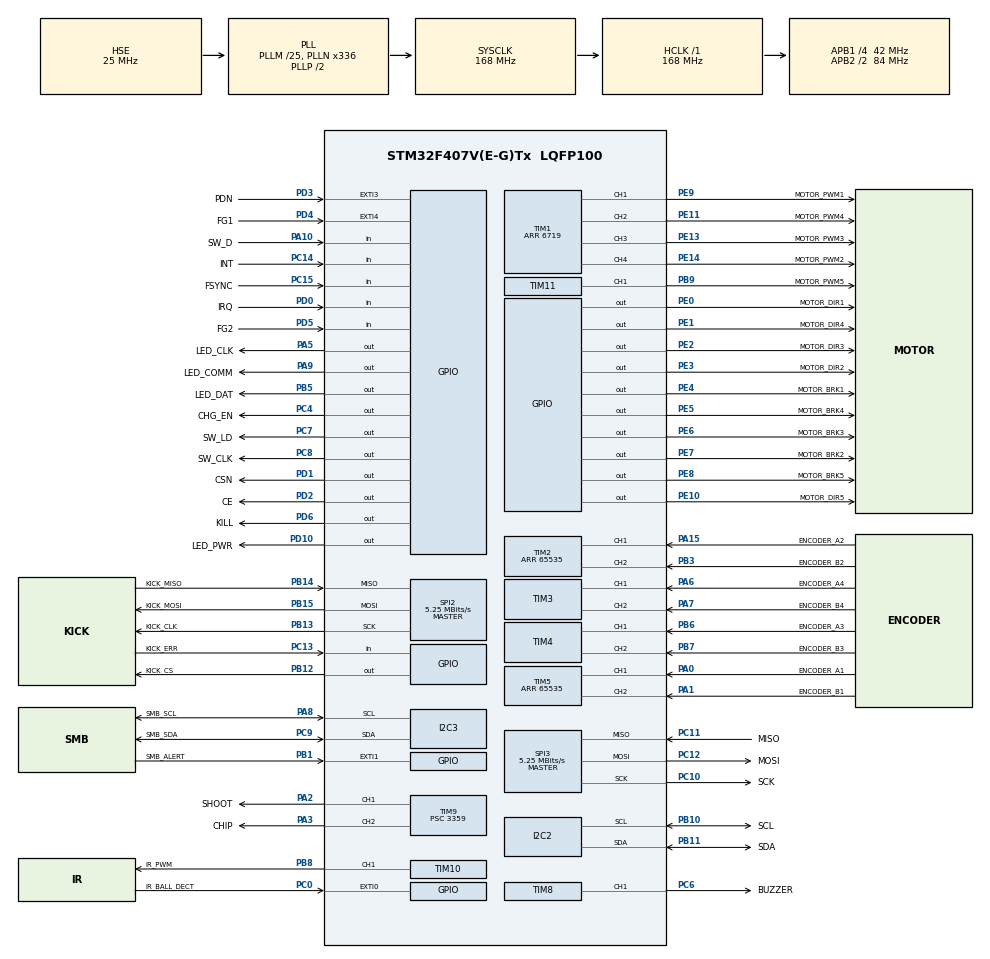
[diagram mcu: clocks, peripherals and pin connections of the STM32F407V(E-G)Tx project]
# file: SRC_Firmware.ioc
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FREERTOS.INCLUDE_vTaskDelayUntil=1
FREERTOS.Tasks01=MotorUpdate,2,128,Update_Motor,Default,NULL,Dynamic,NULL,NULL;Communication,1,512,Do_Comm,Default,NULL,Dynamic,NULL,NULL;StatesUpdate,0,1024,RobotTask,Default,NULL,Dynamic,NULL,NULL;DisplayState,-2,512,Do_Display,Default,NULL,Dynamic,NULL,NULL;Idle,-3,128,Do_Default,Default,NULL,Dynamic,NULL,NULL
I2C2.DualAddressMode=I2C_DUALADDRESS_DISABLE
I2C2.I2C_Mode=I2C_Fast
Mcu.Family=STM32F4
Mcu.Name=STM32F407V(E-G)Tx
Mcu.Package=LQFP100
NVIC.EXTI0_IRQn=true\:5\:0\:false\:false\:true\:true\:true\:true\:true
NVIC.EXTI1_IRQn=true\:5\:0\:false\:false\:true\:true\:true\:true\:true
NVIC.EXTI3_IRQn=true\:5\:0\:false\:false\:true\:true\:true\:true\:true
NVIC.EXTI4_IRQn=true\:5\:0\:false\:false\:true\:true\:true\:true\:true
NVIC.PriorityGroup=NVIC_PRIORITYGROUP_4
NVIC.TIM8_BRK_TIM12_IRQn=true\:5\:0\:false\:true\:true\:1\:true\:true\:true\:true
NVIC.TIM8_TRG_COM_TIM14_IRQn=true\:15\:0\:false\:false\:true\:false\:false\:true\:true
NVIC.TimeBase=TIM8_TRG_COM_TIM14_IRQn
NVIC.TimeBaseIP=TIM14
PA0-WKUP.GPIO_Label=ENCODER_A1
PA0-WKUP.Signal=S_TIM5_CH1
PA1.GPIO_Label=ENCODER_B1
PA1.Signal=S_TIM5_CH2
PA10.GPIO_Label=SW_D
PA10.Signal=GPIO_Input
PA13.Mode=Serial_Wire
PA13.Signal=SYS_JTMS-SWDIO
PA14.Mode=Serial_Wire
PA14.Signal=SYS_JTCK-SWCLK
PA15.GPIO_Label=ENCODER_A2
PA15.Signal=S_TIM2_CH1_ETR
PA2.GPIO_Label=SHOOT
PA2.GPIO_PuPd=GPIO_PULLUP
PA2.GPIO_Speed=GPIO_SPEED_FREQ_HIGH
PA2.Signal=S_TIM9_CH1
PA3.GPIO_Label=CHIP
PA3.GPIO_PuPd=GPIO_PULLUP
PA3.GPIO_Speed=GPIO_SPEED_FREQ_HIGH
PA3.Signal=S_TIM9_CH2
PA5.GPIO_Label=LED_CLK
PA5.GPIO_Speed=GPIO_SPEED_FREQ_HIGH
PA5.Signal=GPIO_Output
PA6.GPIO_Label=ENCODER_A4
PA6.Signal=S_TIM3_CH1
PA7.GPIO_Label=ENCODER_B4
PA7.Signal=S_TIM3_CH2
PA8.GPIO_Label=SMB_SCL
PA8.Mode=I2C
PA8.Signal=I2C3_SCL
PA9.GPIO_Label=LED_COMM
PA9.GPIO_Speed=GPIO_SPEED_FREQ_HIGH
PA9.Signal=GPIO_Output
PB1.GPIO_Label=SMB_ALERT
PB1.GPIO_ModeDefaultEXTI=GPIO_MODE_IT_FALLING
PB1.GPIO_PuPd=GPIO_PULLUP
PB1.Signal=GPXTI1
PB10.GPIO_Label=SCL
PB10.GPIO_Pu=GPIO_NOPULL
PB10.Mode=I2C
PB10.Signal=I2C2_SCL
PB11.GPIO_Label=SDA
PB11.GPIO_Pu=GPIO_NOPULL
PB11.Mode=I2C
PB11.Signal=I2C2_SDA
PB12.GPIO_Label=KICK_CS
PB12.GPIO_PuPd=GPIO_PULLUP
PB12.GPIO_Speed=GPIO_SPEED_FREQ_VERY_HIGH
PB12.PinState=GPIO_PIN_SET
PB12.Signal=GPIO_Output
PB13.GPIO_Label=KICK_CLK
PB13.Mode=Full_Duplex_Master
PB13.Signal=SPI2_SCK
PB14.GPIO_Label=KICK_MISO
PB14.Mode=Full_Duplex_Master
PB14.Signal=SPI2_MISO
PB15.GPIO_Label=KICK_MOSI
PB15.Mode=Full_Duplex_Master
PB15.Signal=SPI2_MOSI
PB3.GPIO_Label=ENCODER_B2
PB3.Signal=S_TIM2_CH2
PB5.GPIO_Label=LED_DAT
PB5.GPIO_Speed=GPIO_SPEED_FREQ_HIGH
PB5.Signal=GPIO_Output
PB6.GPIO_Label=ENCODER_A3
PB6.Signal=S_TIM4_CH1
PB7.GPIO_Label=ENCODER_B3
PB7.Signal=S_TIM4_CH2
PB8.GPIO_Label=IR_PWM
PB8.Signal=S_TIM10_CH1
PB9.GPIO_Label=MOTOR_PWM5
PB9.Signal=S_TIM11_CH1
PC0.GPIO_Label=IR_BALL_DECT
PC0.GPIO_ModeDefaultEXTI=GPIO_MODE_IT_RISING_FALLING
PC0.Signal=GPXTI0
PC10.GPIO_Label=SCK
PC10.Mode=Full_Duplex_Master
PC10.Signal=SPI3_SCK
PC11.GPIO_Label=MISO
PC11.Mode=Full_Duplex_Master
PC11.Signal=SPI3_MISO
PC12.GPIO_Label=MOSI
PC12.Mode=Full_Duplex_Master
PC12.Signal=SPI3_MOSI
PC13-ANTI_TAMP.GPIO_Label=KICK_ERR
PC13-ANTI_TAMP.GPIO_PuPd=GPIO_PULLUP
PC13-ANTI_TAMP.Signal=GPIO_Input
PC14-OSC32_IN.GPIO_Label=INT
PC14-OSC32_IN.Signal=GPIO_Input
PC15-OSC32_OUT.GPIO_Label=FSYNC
PC15-OSC32_OUT.Signal=GPIO_Input
PC4.GPIO_Label=CHG_EN
PC4.GPIO_ModeDefaultOutputPP=GPIO_MODE_OUTPUT_PP
PC4.GPIO_PuPd=GPIO_NOPULL
PC4.GPIO_Speed=GPIO_SPEED_FREQ_HIGH
PC4.PinState=GPIO_PIN_RESET
PC4.Signal=GPIO_Output
PC6.GPIO_Label=BUZZER
PC6.Signal=S_TIM8_CH1
PC7.GPIO_Label=SW_LD
PC7.GPIO_Speed=GPIO_SPEED_FREQ_VERY_HIGH
PC7.Signal=GPIO_Output
PC8.GPIO_Label=SW_CLK
PC8.GPIO_Speed=GPIO_SPEED_FREQ_VERY_HIGH
PC8.Signal=GPIO_Output
PC9.GPIO_Label=SMB_SDA
PC9.Mode=I2C
PC9.Signal=I2C3_SDA
PD0.GPIO_Label=IRQ
PD0.GPIO_PuPd=GPIO_NOPULL
PD0.Signal=GPIO_Input
PD1.GPIO_Label=CSN
PD1.GPIO_Speed=GPIO_SPEED_FREQ_HIGH
PD1.PinState=GPIO_PIN_SET
PD1.Signal=GPIO_Output
PD10.GPIO_Label=LED_PWR
PD10.GPIO_Speed=GPIO_SPEED_FREQ_HIGH
PD10.Signal=GPIO_Output
PD2.GPIO_Label=CE
PD2.GPIO_Speed=GPIO_SPEED_FREQ_HIGH
PD2.Signal=GPIO_Output
PD3.GPIO_Label=PDN
PD3.GPIO_ModeDefaultEXTI=GPIO_MODE_IT_FALLING
PD3.GPIO_PuPd=GPIO_PULLUP
PD3.Signal=GPXTI3
PD4.GPIO_Label=FG1
PD4.Signal=GPXTI4
PD5.GPIO_Label=FG2
PD5.Signal=GPIO_Input
PD6.GPIO_Label=KILL
PD6.GPIO_ModeDefaultOutputPP=GPIO_MODE_OUTPUT_OD
PD6.GPIO_PuPd=GPIO_PULLUP
PD6.GPIO_Speed=GPIO_SPEED_FREQ_HIGH
PD6.PinState=GPIO_PIN_SET
PD6.Signal=GPIO_Output
PE0.GPIO_Label=MOTOR_DIR1
PE0.GPIO_Speed=GPIO_SPEED_FREQ_HIGH
PE0.Signal=GPIO_Output
PE1.GPIO_Label=MOTOR_DIR4
PE1.GPIO_Speed=GPIO_SPEED_FREQ_HIGH
PE1.Signal=GPIO_Output
PE10.GPIO_Label=MOTOR_DIR5
PE10.GPIO_Speed=GPIO_SPEED_FREQ_HIGH
PE10.Signal=GPIO_Output
PE11.GPIO_Label=MOTOR_PWM4
PE11.Signal=S_TIM1_CH2
PE13.GPIO_Label=MOTOR_PWM3
PE13.Signal=S_TIM1_CH3
PE14.GPIO_Label=MOTOR_PWM2
PE14.Signal=S_TIM1_CH4
PE2.GPIO_Label=MOTOR_DIR3
PE2.GPIO_Speed=GPIO_SPEED_FREQ_HIGH
PE2.Signal=GPIO_Output
PE3.GPIO_Label=MOTOR_DIR2
PE3.GPIO_Speed=GPIO_SPEED_FREQ_HIGH
PE3.Signal=GPIO_Output
PE4.GPIO_Label=MOTOR_BRK1
PE4.GPIO_Speed=GPIO_SPEED_FREQ_HIGH
PE4.PinState=GPIO_PIN_SET
PE4.Signal=GPIO_Output
PE5.GPIO_Label=MOTOR_BRK4
PE5.GPIO_Speed=GPIO_SPEED_FREQ_HIGH
PE5.PinState=GPIO_PIN_SET
PE5.Signal=GPIO_Output
PE6.GPIO_Label=MOTOR_BRK3
PE6.GPIO_Speed=GPIO_SPEED_FREQ_HIGH
PE6.PinState=GPIO_PIN_SET
PE6.Signal=GPIO_Output
PE7.GPIO_Label=MOTOR_BRK2
PE7.GPIO_Speed=GPIO_SPEED_FREQ_HIGH
PE7.PinState=GPIO_PIN_SET
PE7.Signal=GPIO_Output
PE8.GPIO_Label=MOTOR_BRK5
PE8.GPIO_Speed=GPIO_SPEED_FREQ_HIGH
PE8.Signal=GPIO_Output
PE9.GPIO_Label=MOTOR_PWM1
PE9.Signal=S_TIM1_CH1
PH0-OSC_IN.Mode=HSE-External-Oscillator
PH0-OSC_IN.Signal=RCC_OSC_IN
PH1-OSC_OUT.Mode=HSE-External-Oscillator
PH1-OSC_OUT.Signal=RCC_OSC_OUT
ProjectManager.HeapSize=0x200
ProjectManager.StackSize=0x400
ProjectManager.TargetToolchain=MDK-ARM V5.32
RCC.48MHZClocksFreq_Value=84000000
RCC.AHBFreq_Value=168000000
RCC.APB1CLKDivider=RCC_HCLK_DIV4
RCC.APB1Freq_Value=42000000
RCC.APB1TimFreq_Value=84000000
RCC.APB2CLKDivider=RCC_HCLK_DIV2
RCC.APB2Freq_Value=84000000
RCC.APB2TimFreq_Value=168000000
RCC.CortexFreq_Value=168000000
RCC.HCLKFreq_Value=168000000
RCC.HSE_VALUE=25000000
RCC.HSI_VALUE=16000000
RCC.LSE_VALUE=32768
RCC.PLLM=25
RCC.PLLN=336
RCC.PLLSourceVirtual=RCC_PLLSOURCE_HSE
RCC.SYSCLKFreq_VALUE=168000000
RCC.SYSCLKSource=RCC_SYSCLKSOURCE_PLLCLK
RCC.VCOOutputFreq_Value=336000000
SH.S_TIM10_CH1.0=TIM10_CH1,PWM Generation1 CH1
SH.S_TIM11_CH1.0=TIM11_CH1,PWM Generation1 CH1
SH.S_TIM1_CH1.0=TIM1_CH1,PWM Generation1 CH1
SH.S_TIM1_CH2.0=TIM1_CH2,PWM Generation2 CH2
SH.S_TIM1_CH3.0=TIM1_CH3,PWM Generation3 CH3
SH.S_TIM1_CH4.0=TIM1_CH4,PWM Generation4 CH4
SH.S_TIM2_CH1_ETR.0=TIM2_CH1,Encoder_Interface
SH.S_TIM2_CH2.0=TIM2_CH2,Encoder_Interface
SH.S_TIM3_CH1.0=TIM3_CH1,Encoder_Interface
SH.S_TIM3_CH2.0=TIM3_CH2,Encoder_Interface
SH.S_TIM4_CH1.0=TIM4_CH1,Encoder_Interface
SH.S_TIM4_CH2.0=TIM4_CH2,Encoder_Interface
SH.S_TIM5_CH1.0=TIM5_CH1,Encoder_Interface
SH.S_TIM5_CH2.0=TIM5_CH2,Encoder_Interface
SH.S_TIM8_CH1.0=TIM8_CH1,PWM Generation1 CH1
SH.S_TIM9_CH1.0=TIM9_CH1,PWM Generation1 CH1
SH.S_TIM9_CH2.0=TIM9_CH2,PWM Generation2 CH2
SPI2.BaudRatePrescaler=SPI_BAUDRATEPRESCALER_8
SPI2.CLKPhase=SPI_PHASE_2EDGE
SPI2.CLKPolarity=SPI_POLARITY_HIGH
SPI2.CalculateBaudRate=5.25 MBits/s
SPI2.Direction=SPI_DIRECTION_2LINES
SPI2.Mode=SPI_MODE_MASTER
SPI2.VirtualType=VM_MASTER
SPI3.BaudRatePrescaler=SPI_BAUDRATEPRESCALER_8
SPI3.CRCCalculation=SPI_CRCCALCULATION_DISABLE
SPI3.CalculateBaudRate=5.25 MBits/s
SPI3.Direction=SPI_DIRECTION_2LINES
SPI3.Mode=SPI_MODE_MASTER
SPI3.VirtualType=VM_MASTER
TIM1.AutoReloadPreload=TIM_AUTORELOAD_PRELOAD_ENABLE
TIM1.Channel-PWM\ Generation1\ CH1=TIM_CHANNEL_1
TIM1.Channel-PWM\ Generation2\ CH2=TIM_CHANNEL_2
TIM1.Channel-PWM\ Generation3\ CH3=TIM_CHANNEL_3
TIM1.Channel-PWM\ Generation4\ CH4=TIM_CHANNEL_4
TIM1.OCPolarity_1=TIM_OCPOLARITY_LOW
TIM1.OCPolarity_2=TIM_OCPOLARITY_LOW
TIM1.OCPolarity_3=TIM_OCPOLARITY_LOW
TIM1.OCPolarity_4=TIM_OCPOLARITY_LOW
TIM1.Period=6719
TIM10.AutoReloadPreload=TIM_AUTORELOAD_PRELOAD_DISABLE
TIM10.Channel=TIM_CHANNEL_1
TIM10.Period=4420
TIM10.Pulse=4420 * 20 / 100
TIM11.AutoReloadPreload=TIM_AUTORELOAD_PRELOAD_ENABLE
TIM11.Channel=TIM_CHANNEL_1
TIM11.OC1Preload_PWM=ENABLE
TIM11.OCFastMode_PWM=TIM_OCFAST_DISABLE
TIM11.OCPolarity_1=TIM_OCPOLARITY_LOW
TIM11.Period=6719
TIM12.AutoReloadPreload=TIM_AUTORELOAD_PRELOAD_ENABLE
TIM12.Period=1000
TIM12.Prescaler=83
TIM2.AutoReloadPreload=TIM_AUTORELOAD_PRELOAD_ENABLE
TIM2.EncoderMode=TIM_ENCODERMODE_TI12
TIM2.IC1Polarity=TIM_ICPOLARITY_FALLING
TIM2.IC2Polarity=TIM_ICPOLARITY_RISING
TIM2.Period=65535
TIM3.AutoReloadPreload=TIM_AUTORELOAD_PRELOAD_ENABLE
TIM3.EncoderMode=TIM_ENCODERMODE_TI12
TIM3.IC1Polarity=TIM_ICPOLARITY_FALLING
TIM3.IC2Polarity=TIM_ICPOLARITY_RISING
TIM4.AutoReloadPreload=TIM_AUTORELOAD_PRELOAD_ENABLE
TIM4.EncoderMode=TIM_ENCODERMODE_TI12
TIM4.IC1Polarity=TIM_ICPOLARITY_FALLING
TIM4.IC2Polarity=TIM_ICPOLARITY_RISING
TIM5.AutoReloadPreload=TIM_AUTORELOAD_PRELOAD_ENABLE
TIM5.EncoderMode=TIM_ENCODERMODE_TI12
TIM5.IC1Polarity=TIM_ICPOLARITY_FALLING
TIM5.IC2Polarity=TIM_ICPOLARITY_RISING
TIM5.Period=65535
TIM7.Period=65535
TIM7.Prescaler=20
TIM7.TIM_MasterOutputTrigger=TIM_TRGO_RESET
TIM8.Channel-PWM\ Generation1\ CH1=TIM_CHANNEL_1
TIM8.Period=499
TIM8.Prescaler=167
TIM9.Channel-PWM\ Generation1\ CH1=TIM_CHANNEL_1
TIM9.Channel-PWM\ Generation2\ CH2=TIM_CHANNEL_2
TIM9.OC1Preload_PWM=DISABLE
TIM9.OC2Preload_PWM=DISABLE
TIM9.OCMode_PWM-PWM\ Generation1\ CH1=TIM_OCMODE_PWM2
TIM9.OCMode_PWM-PWM\ Generation2\ CH2=TIM_OCMODE_PWM2
TIM9.OCPolarity_1=TIM_OCPOLARITY_LOW
TIM9.OCPolarity_2=TIM_OCPOLARITY_LOW
TIM9.Period=127*5
TIM9.Prescaler=3359
TIM9.Pulse-PWM\ Generation1\ CH1=1
TIM9.Pulse-PWM\ Generation2\ CH2=1
VP_FREERTOS_VS_CMSIS_V1.Mode=CMSIS_V1
VP_SYS_VS_tim14.Mode=TIM14
VP_TIM10_VS_ClockSourceINT.Mode=Enable_Timer
VP_TIM11_VS_ClockSourceINT.Mode=Enable_Timer
VP_TIM12_VS_ClockSourceINT.Mode=Internal
VP_TIM6_VS_ClockSourceINT.Mode=Enable_Timer
VP_TIM6_VS_OPM.Mode=OPM_bit
VP_TIM7_VS_ClockSourceINT.Mode=Enable_Timer
VP_TIM7_VS_OPM.Mode=OPM_bit
VP_TIM8_VS_ClockSourceINT.Mode=Internal
VP_TIM9_VS_ClockSourceINT.Mode=Internal
VP_TIM9_VS_OPM.Mode=OPM_bit
board=custom

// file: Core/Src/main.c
/* USER CODE BEGIN Header */
/* coding: utf-8 */
/**
  ******************************************************************************
  * @file           : main.c
  * @brief          : Main program body
  ******************************************************************************
  * @attention
  *
  * Copyright (c) 2025 STMicroelectronics.
  * All rights reserved.
  *
  * This software is licensed under terms that can be found in the LICENSE file
  * in the root directory of this software component.
  * If no LICENSE file comes with this software, it is provided AS-IS.
  *
  ******************************************************************************
  */
/* USER CODE END Header */
#include "main.h"
#include "cmsis_os.h"
#include "i2c.h"
#include "spi.h"
#include "tim.h"
#include "gpio.h"

/* USER CODE BEGIN Includes */
#include "board_monitor.h"
#include "dribbler_control.h"
#include "robot.h"
#include "misc.h"
/* USER CODE END Includes */

void SystemClock_Config(void);
void MX_FREERTOS_Init(void);
static void MX_NVIC_Init(void);

/* USER CODE BEGIN 0 */
robot_t g_robot;
extern SemaphoreHandle_t xMotorTickSem;
/* USER CODE END 0 */

int main(void)
{

  /* MCU Configuration--------------------------------------------------------*/

  /* Reset of all peripherals, Initializes the Flash interface and the Systick. */
  HAL_Init();

  /* USER CODE BEGIN Init */
  /* v13b DIS is low-active: drive HIGH before clock/peripheral setup. */
  kicker_hold_outputs();

  /* USER CODE END Init */

  /* Configure the system clock */
  SystemClock_Config();

  /* USER CODE BEGIN SysInit */
  DIS_INT();
  /* CHG low before peripherals; board bias identification runs in its task. */
  board_charge_gpio_init();

  /* USER CODE END SysInit */

  /* Initialize all configured peripherals */
  MX_GPIO_Init();
  MX_SPI3_Init();
  MX_TIM1_Init();
  MX_TIM2_Init();
  MX_TIM3_Init();
  MX_TIM4_Init();
  MX_TIM5_Init();
  MX_TIM7_Init();
  MX_TIM9_Init();
  MX_TIM10_Init();
  MX_TIM11_Init();
  MX_TIM6_Init();
  MX_TIM12_Init();
  MX_I2C2_Init();
  MX_I2C3_Init();
  MX_SPI2_Init();
  MX_TIM8_Init();

  /* Initialize interrupts */
  MX_NVIC_Init();
  /* USER CODE BEGIN 2 */
  /* v13b DIS is low-active: establish high before peripheral init. */
  kicker_hold_outputs();
  SRC_Robot_Init();
  /* USER CODE END 2 */

  /* Call init function for freertos objects (in cmsis_os2.c) */
  MX_FREERTOS_Init();

  /* Start scheduler */
  osKernelStart();

  /* We should never get here as control is now taken by the scheduler */

  /* Infinite loop */
  while (1)
  {

  }
}

void SystemClock_Config(void)
{
  RCC_OscInitTypeDef RCC_OscInitStruct = {0};
  RCC_ClkInitTypeDef RCC_ClkInitStruct = {0};

  /** Configure the main internal regulator output voltage
  */
  __HAL_RCC_PWR_CLK_ENABLE();
  __HAL_PWR_VOLTAGESCALING_CONFIG(PWR_REGULATOR_VOLTAGE_SCALE1);

  /** Initializes the RCC Oscillators according to the specified parameters
  * in the RCC_OscInitTypeDef structure.
  */
  RCC_OscInitStruct.OscillatorType = RCC_OSCILLATORTYPE_HSE;
  RCC_OscInitStruct.HSEState = RCC_HSE_ON;
  RCC_OscInitStruct.PLL.PLLState = RCC_PLL_ON;
  RCC_OscInitStruct.PLL.PLLSource = RCC_PLLSOURCE_HSE;
  RCC_OscInitStruct.PLL.PLLM = 25;
  RCC_OscInitStruct.PLL.PLLN = 336;
  RCC_OscInitStruct.PLL.PLLP = RCC_PLLP_DIV2;
  RCC_OscInitStruct.PLL.PLLQ = 4;
  if (HAL_RCC_OscConfig(&RCC_OscInitStruct) != HAL_OK)
  {
    Error_Handler();
  }

  /** Initializes the CPU, AHB and APB buses clocks
  */
  RCC_ClkInitStruct.ClockType = RCC_CLOCKTYPE_HCLK|RCC_CLOCKTYPE_SYSCLK
                              |RCC_CLOCKTYPE_PCLK1|RCC_CLOCKTYPE_PCLK2;
  RCC_ClkInitStruct.SYSCLKSource = RCC_SYSCLKSOURCE_PLLCLK;
  RCC_ClkInitStruct.AHBCLKDivider = RCC_SYSCLK_DIV1;
  RCC_ClkInitStruct.APB1CLKDivider = RCC_HCLK_DIV4;
  RCC_ClkInitStruct.APB2CLKDivider = RCC_HCLK_DIV2;

  if (HAL_RCC_ClockConfig(&RCC_ClkInitStruct, FLASH_LATENCY_5) != HAL_OK)
  {
    Error_Handler();
  }
}

/**
  * @brief NVIC Configuration.
  * @retval None
  */
static void MX_NVIC_Init(void)
{
  /* TIM8_BRK_TIM12_IRQn interrupt configuration */
  HAL_NVIC_SetPriority(TIM8_BRK_TIM12_IRQn, 5, 0);
  HAL_NVIC_EnableIRQ(TIM8_BRK_TIM12_IRQn);
}

/* USER CODE BEGIN 4 */
/*******************************************************************************
* @brief Route new board interrupts; bus transfers and control stay in tasks.
* @author COEX, Xuanting Liu
*******************************************************************************/
void HAL_GPIO_EXTI_Callback(uint16_t GPIO_Pin)
{
	if(GPIO_Pin == FG1_Pin) dribbler_fg_edge();
	else board_monitor_exti(GPIO_Pin);
}

/* USER CODE END 4 */

void HAL_TIM_PeriodElapsedCallback(TIM_HandleTypeDef *htim)
{
  /* USER CODE BEGIN Callback 0 */
	static uint32_t time_cnt = 0;

  /* USER CODE END Callback 0 */
  if (htim->Instance == TIM14) {
    HAL_IncTick();
  }
  /* USER CODE BEGIN Callback 1 */

  if(htim->Instance == TIM12)
    {
      int now_infra;
      //更新持球状濿
      #if INFRA_TYPE == OLD_INFRA
            if (HAL_GPIO_ReadPin(IR_BALL_DECT_GPIO_Port, IR_BALL_DECT_Pin) == GPIO_PIN_SET)
                now_infra = 1;
            else
                now_infra = 0;
      #elif INFRA_TYPE == NEW_INFRA
            if (HAL_GPIO_ReadPin(IR_BALL_DECT_GPIO_Port, IR_BALL_DECT_Pin) == GPIO_PIN_SET)
                now_infra = 0;
            else
                now_infra = 1;
      #endif

      g_robot.is_ball_detected = Infra_Filter_Update(now_infra);

      if(++time_cnt >= 2)
      {
        BaseType_t xHigherPriorityTaskWoken = pdFALSE;
        if(xMotorTickSem != NULL) xSemaphoreGiveFromISR(xMotorTickSem, &xHigherPriorityTaskWoken);
        portYIELD_FROM_ISR(xHigherPriorityTaskWoken);
        time_cnt = 0;
      }

			inc_receive_mode_flag();
			update_sys_timer();
    }

  /* USER CODE END Callback 1 */
}

void Error_Handler(void)
{
  __disable_irq();
  while (1)
  {
  }
}

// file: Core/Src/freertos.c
/* USER CODE BEGIN Header */
/* coding: utf-8 */
/**
  ******************************************************************************
  * File Name          : freertos.c
  * Description        : Code for freertos applications
  ******************************************************************************
  * @attention
  *
  * Copyright (c) 2025 STMicroelectronics.
  * All rights reserved.
  *
  * This software is licensed under terms that can be found in the LICENSE file
  * in the root directory of this software component.
  * If no LICENSE file comes with this software, it is provided AS-IS.
  *
  ******************************************************************************
  */
/* USER CODE END Header */

#include "FreeRTOS.h"
#include "task.h"
#include "main.h"
#include "cmsis_os.h"

/* USER CODE BEGIN Includes */
#include <string.h>
#include "gpio.h"
#include "robot.h"
#include "tim.h"
#include "motor.h"
#include "comm.h"
#include "action.h"
#include "oled.h"
#include "misc.h"
#include "MPU6050_driver.h"
#include "i2c.h"
#include "board_monitor.h"
#include "dribbler_control.h"
#include "music.h"
/* USER CODE END Includes */

/* USER CODE BEGIN Variables */
SemaphoreHandle_t xMotorTickSem = NULL;

/* Release communication and display only after startup owns the bus and buzzer. */
static volatile uint8_t startup_complete = 0U;

timer_t power_mon_timer;
timer_t heart_led_timer;
timer_t rf_comm_tim;           //发射机�?�信超时时间
timer_t identify_cpuid_tim;   //cpuid认证超时时间 设置�?10S
timer_t shoot_interval_timer;

extern char g_do_set_receive_mode_flag;
extern char g_set_receive_mode_flag;
extern packet_robot_t src_robot_packet;

/* USER CODE END Variables */
osThreadId MotorUpdateHandle;
osThreadId CommunicationHandle;
osThreadId StatesUpdateHandle;
osThreadId DisplayStateHandle;
osThreadId IdleHandle;

/* USER CODE BEGIN FunctionPrototypes */
static void Update_Imu(void const *argument);
static void Update_Board(void const *argument);
static void Play_Mode3Music(void);

/* USER CODE END FunctionPrototypes */

void Update_Motor(void const * argument);
void Do_Comm(void const * argument);
void RobotTask(void const * argument);
void Do_Display(void const * argument);
void Do_Default(void const * argument);

void MX_FREERTOS_Init(void); /* (MISRA C 2004 rule 8.1) */

/* GetIdleTaskMemory prototype (linked to static allocation support) */
void vApplicationGetIdleTaskMemory( StaticTask_t **ppxIdleTaskTCBBuffer, StackType_t **ppxIdleTaskStackBuffer, uint32_t *pulIdleTaskStackSize );

/* USER CODE BEGIN GET_IDLE_TASK_MEMORY */
static StaticTask_t xIdleTaskTCBBuffer;
static StackType_t xIdleStack[configMINIMAL_STACK_SIZE];

void vApplicationGetIdleTaskMemory( StaticTask_t **ppxIdleTaskTCBBuffer, StackType_t **ppxIdleTaskStackBuffer, uint32_t *pulIdleTaskStackSize )
{
  *ppxIdleTaskTCBBuffer = &xIdleTaskTCBBuffer;
  *ppxIdleTaskStackBuffer = &xIdleStack[0];
  *pulIdleTaskStackSize = configMINIMAL_STACK_SIZE;
  /* place for user code */
}
/* USER CODE END GET_IDLE_TASK_MEMORY */

void MX_FREERTOS_Init(void) {

  /* USER CODE BEGIN RTOS_MUTEX */
  I2C2_CreateMutex();
  /* add mutexes, ... */
  /* USER CODE END RTOS_MUTEX */

  /* Create the thread(s) */
  /* definition and creation of MotorUpdate */
  osThreadDef(MotorUpdate, Update_Motor, osPriorityHigh, 0, 128);
  MotorUpdateHandle = osThreadCreate(osThread(MotorUpdate), NULL);

  /* definition and creation of Communication */
  osThreadDef(Communication, Do_Comm, osPriorityAboveNormal, 0, 512);
  CommunicationHandle = osThreadCreate(osThread(Communication), NULL);

  /* definition and creation of StatesUpdate */
  osThreadDef(StatesUpdate, RobotTask, osPriorityNormal, 0, 1024);
  StatesUpdateHandle = osThreadCreate(osThread(StatesUpdate), NULL);

  /* definition and creation of DisplayState */
  osThreadDef(DisplayState, Do_Display, osPriorityLow, 0, 512);
  DisplayStateHandle = osThreadCreate(osThread(DisplayState), NULL);

  /* definition and creation of Idle */
  osThreadDef(Idle, Do_Default, osPriorityIdle, 0, 128);
  IdleHandle = osThreadCreate(osThread(Idle), NULL);

  /* USER CODE BEGIN RTOS_THREADS */
  osThreadDef(ImuUpdate, Update_Imu, osPriorityAboveNormal, 0, 512);
  if (osThreadCreate(osThread(ImuUpdate), NULL) == NULL) Error_Handler();
  osThreadDef(BoardUpdate, Update_Board, osPriorityAboveNormal, 0, 384);
  if (osThreadCreate(osThread(BoardUpdate), NULL) == NULL) Error_Handler();
  /* add threads, ... */
  /* USER CODE END RTOS_THREADS */

}

void Update_Motor(void const * argument)
{
  /* USER CODE BEGIN Update_Motor */
  xMotorTickSem = xSemaphoreCreateBinary();
  if (xMotorTickSem == NULL) Error_Handler();
  /* Infinite loop */
  for(;;)
  {
    if(xSemaphoreTake(xMotorTickSem, pdMS_TO_TICKS(2000)) == pdTRUE)
    {
        do_update_motor();
        //Debug_Here();  // 调试断点
    }
  }
  /* USER CODE END Update_Motor */
}

void Do_Comm(void const * argument)
{
  /* USER CODE BEGIN Do_Comm */
  while (startup_complete == 0U)
  {
    osDelay(10U);
  }
  /* Infinite loop */
  for(;;)
  {
    if(g_robot.mode == NORMAL_MODE || g_robot.mode == CRAY_MODE)
    {
        do_communication();
        do_game_telemetry_up();

        if(check_timer(rf_comm_tim))
          {
            g_do_set_receive_mode_flag = 1;

            for(int i = 0; i < CHANNEL_NUM; i++)
            {
              g_robot.wheels[i].set = 0;
              g_robot.wheels[i].cur_position = 0;
              g_robot.wheels[i].pid.set = 0;
            }

            do_dribbler(0);
            HeadingControl_Reset(&g_robot.heading_control);
            do_move(0,0,0,g_robot.PID_type);
            do_shoot(0,0);
            do_chip(0,0);
            //Very important: clear the packet when communication timeout.
            src_robot_packet.shoot = 0;
            src_robot_packet.chip = 0;
            src_robot_packet.dribbler = 0;
            src_robot_packet.speed_x = 0;
            src_robot_packet.speed_y = 0;
            src_robot_packet.speed_rot = 0;

            start_nRF24L01_RX();
            rf_comm_tim = get_one_timer(COMM_TIMEOUT_TIME);
            identify_cpuid_tim = get_one_timer(IDENTIFY_CPUID_TIMEOUT_TIME);
          }

				if(g_do_set_receive_mode_flag)	//发出数据包后置为1，等待数据发出去后将模式修改为接收模式
          {
            if(g_set_receive_mode_flag >= 3)
            {
              start_nRF24L01_RX();

              g_set_receive_mode_flag = 0;
              g_do_set_receive_mode_flag = 0; 	//置位可接收标志位
            }
          }
    }
    osDelay(5);
  }
  /* USER CODE END Do_Comm */
}

void RobotTask(void const * argument)
{
  /* USER CODE BEGIN RobotTask */
	int i;

    if (g_robot.mode == SELFTEST_MODE)
    {
        Play_Mode3Music();
    }
    else
    {
        i = g_robot.mode + 1;
        while (i != 0)
        {
            BEEP_ON();
            osDelay(100);
            BEEP_OFF();
            osDelay(100);
            i--;
        }
    }

    /* Separate the gyro result from the preceding mode beep sequence. */
    BEEP_OFF();
    osDelay(1000U);
    if (InitMPU6050() != 0)
    {
        /* Success: two short beeps, 150 ms each, separated by 150 ms. */
        for (i = 0; i < 2; i++)
        {
            BEEP_ON();
            osDelay(150U);
            BEEP_OFF();
            osDelay(150U);
        }
    }
    else
    {
        /* Failure: one long beep. Continue startup without gyro assistance. */
        BEEP_ON();
        osDelay(1000U);
        BEEP_OFF();
    }
    /* Keep runtime power/infrared indications separate from the gyro result. */
    osDelay(500U);

	/* initial timer */
	power_mon_timer = get_one_timer(POWER_MON_TIME);
	heart_led_timer = get_one_timer(HEARTBEAT_TIME);
	rf_comm_tim = get_one_timer(COMM_TIMEOUT_TIME); //无线通信模式超时时间
	shoot_interval_timer = get_one_timer(1);
	identify_cpuid_tim = get_one_timer(IDENTIFY_CPUID_TIMEOUT_TIME); //cpuid认证超时时间设置10s 10s认证不成功则停止机器
  do_power_monitor();

	/* start motor */
	if(!board_actuators_disabled())
    {
        start_motor();
        start_dribbler();
    }
  HAL_TIM_Base_Start_IT(&htim12);  // 启动TIM12中断
  startup_complete = 1U;
  /* Infinite loop */
  for(;;)
  {
    do_robot_run();
    osDelay(1);
  }
  /* USER CODE END RobotTask */
}

void Do_Display(void const * argument)
{
  /* USER CODE BEGIN Do_Display */
  uint32_t display_tick = HAL_GetTick();
  /* Shutdown may interrupt startup; do not hide it behind the logo delay.
   * Author: COEX, Xuanting Liu
   */
  while(HAL_GetTick() - display_tick < 2000U && !board_is_shutdown()) osDelay(10U);
  while (startup_complete == 0U && !board_is_shutdown())
  {
    osDelay(10U);
  }
  /* The startup MPU6050 check has released I2C2. */
  OLED_Display_Init();
  /* Keep the startup logo visible before the first status refresh.
   * I2C2 is unlocked while this task sleeps. Author: COEX, Xuanting Liu
   */
  display_tick = HAL_GetTick();
  while(HAL_GetTick() - display_tick < 2000U && !board_is_shutdown()) osDelay(10U);
  /* Infinite loop */
  for(;;)
  {
    Robot_State_Display();
    osDelay(100U);
  }
  /* USER CODE END Do_Display */
}

void Do_Default(void const * argument)
{
  for(;;)
  {
    osDelay(1);
  }
}

/* USER CODE BEGIN Application */

/* TIM8 is dedicated to PC6 buzzer. Keep the existing shutdown interlock
 * in set_buzzer(), and restore its original pitch before any status beep.
 */
static void Play_Mode3Music(void)
{
    uint32_t saved_arr = __HAL_TIM_GET_AUTORELOAD(&htim8);
    uint32_t timer_clock = HAL_RCC_GetPCLK2Freq();
    uint32_t counter_clock;
    uint32_t n;
    if ((RCC->CFGR & RCC_CFGR_PPRE2) != 0U) timer_clock *= 2U;
    counter_clock = timer_clock / (htim8.Instance->PSC + 1U);
    for (n = 0U; n < MODE3_MUSIC_COUNT; ++n)
    {
        uint32_t duration = (60000U * MODE3_MUSIC[n].sixteenths) /
                            (MUSIC_BPM * 4U);
        /* Articulate consecutive notes, but sustain the final note for its
         * full written duration before stopping playback. */
        uint32_t gap = (n + 1U < MODE3_MUSIC_COUNT) ? duration / 10U : 0U;
        uint32_t hz = MODE3_MUSIC[n].frequency_hz;
        if (board_actuators_disabled()) break;
        BEEP_OFF();
        if (hz != 0U)
        {
            uint32_t period = (counter_clock + hz / 2U) / hz;
            __HAL_TIM_SET_AUTORELOAD(&htim8, period - 1U);
            __HAL_TIM_SET_COUNTER(&htim8, 0U);
            BEEP_ON();
        }
        osDelay(duration - gap);
        BEEP_OFF();
        if (gap != 0U) osDelay(gap);
    }
    BEEP_OFF();
    __HAL_TIM_SET_AUTORELOAD(&htim8, saved_arr);
    __HAL_TIM_SET_COUNTER(&htim8, 0U);
}

/*******************************************************************************
* @brief Sample the IMU at nominal 100 Hz; publish a consistent robot snapshot.
* @note Leave the board stationary for at least two seconds after startup.
*******************************************************************************/
static void Update_Imu(void const *argument)
{
    static imu_filter_t filter;
    float accel[3], gyro[3], temperature;
    TickType_t wake;
    uint32_t last_fresh;
    (void)argument;
    while (startup_complete == 0U) osDelay(10U);
    ImuFilter_Reset(&filter);
    last_fresh = HAL_GetTick();
    wake = xTaskGetTickCount();
    for (;;)
    {
        int result = g_mpu6050_status == MPU6050_INIT_OK ?
                     MPU6050_ReadMotion(accel, gyro, &temperature) : -1;
        uint32_t now = HAL_GetTick();
        if (result > 0)
        {
            ImuFilter_Update(&filter, accel, gyro, temperature, now);
            last_fresh = now;
        }
        else if (result < 0 || now - last_fresh > 100U)
        {
            ImuFilter_ReadError(&filter);
        }
        taskENTER_CRITICAL();
        g_robot.attitude = filter.attitude;
        taskEXIT_CRITICAL();
        vTaskDelayUntil(&wake, pdMS_TO_TICKS(10U));
    }
}

/*******************************************************************************
* @brief Power and FG1 service runs during startup too; never blocks in an ISR.
* @author COEX, Xuanting Liu
*******************************************************************************/
static void Update_Board(void const *argument)
{
	TickType_t wake = xTaskGetTickCount();
	(void)argument;
	for(;;)
	{
		board_monitor_update();
		dribbler_update();
		vTaskDelayUntil(&wake, pdMS_TO_TICKS(10U));
	}
}

/* USER CODE END Application */
